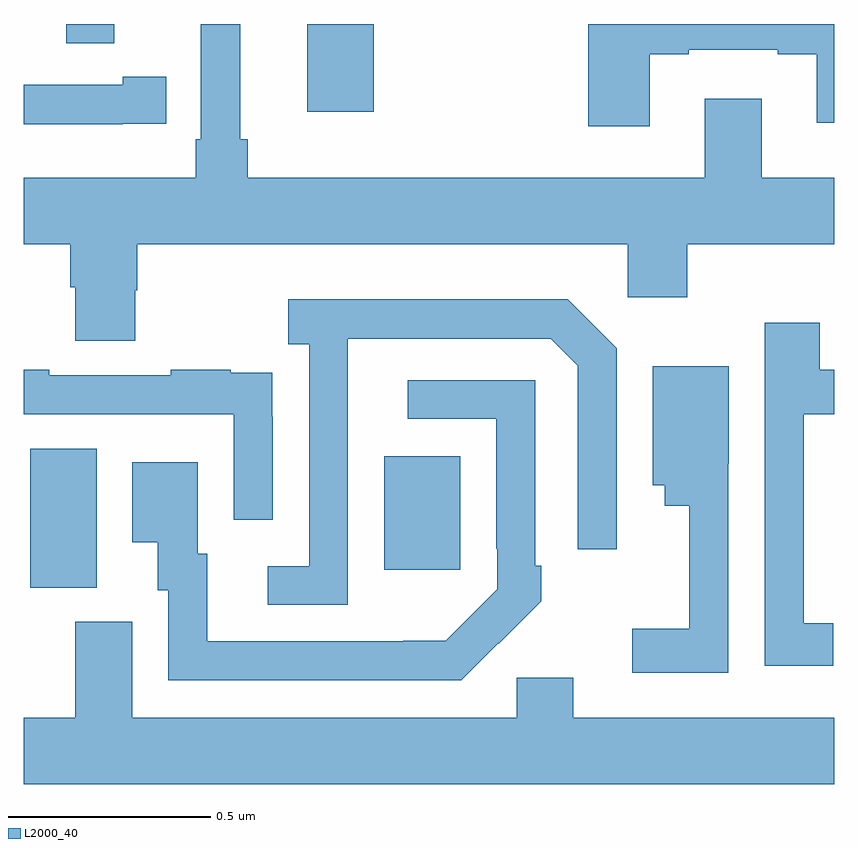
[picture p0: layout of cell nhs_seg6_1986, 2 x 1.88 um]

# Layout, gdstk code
import gdstk
lib = gdstk.Library(unit=1e-6, precision=1e-09)
def R(c, l, rs):  # rectangles x0, y0, x1, y1
    for r in rs: c.add(gdstk.rectangle(r[:2], r[2:], *l))
def P(c, l, *ps):  # polygons
    for p in ps: c.add(gdstk.Polygon(p, *l))
L2000_40 = (2000, 40)

nhs_seg6_1986 = lib.new_cell('nhs_seg6_1986')
R(nhs_seg6_1986, L2000_40, [(136.016,993.109,136.18,993.452), (136.889,993.153,137.077,993.433), (136.7,994.284,136.864,994.5), (136.105,994.452,136.223,994.5)])
P(nhs_seg6_1986, L2000_40, [(137.49,993.825),(137.637,993.825),(137.637,993.956),(138,993.956),(138,994.12),(137.821,994.12),(137.821,994.315),(137.681,994.315),(137.681,994.12),(136.553,994.12),(136.553,994.216),(136.534,994.216),(136.534,994.5),(136.437,994.5),(136.437,994.216),(136.424,994.216),(136.424,994.12),(136,994.12),(136,993.956),(136.115,993.956),(136.115,993.85),(136.127,993.85),(136.127,993.718),(136.275,993.718),(136.275,993.843),(136.28,993.843),(136.28,993.956),(137.49,993.956)],
  [(137.545,994.425),(137.641,994.425),(137.641,994.437),(137.861,994.437),(137.861,994.425),(137.957,994.425),(137.957,994.256),(138,994.256),(138,994.5),(137.393,994.5),(137.393,994.248),(137.545,994.248)],
  [(136.244,994.254),(136.352,994.254),(136.352,994.37),(136.244,994.37),(136.244,994.35),(136,994.35),(136,994.253),(136.244,994.253)],
  [(136.8,993.723),(137.301,993.723),(137.367,993.657),(137.367,993.204),(137.463,993.204),(137.463,993.699),(137.342,993.82),(136.653,993.82),(136.653,993.71),(136.704,993.71),(136.704,993.162),(136.602,993.162),(136.602,993.066),(136.8,993.066)],
  [(137.998,993.021),(137.925,993.021),(137.925,993.537),(138,993.537),(138,993.646),(137.965,993.646),(137.965,993.763),(137.829,993.763),(137.829,992.916),(137.998,992.916)],
  [(137.739,993.415),(137.74,993.415),(137.74,993.655),(137.552,993.655),(137.552,993.362),(137.582,993.362),(137.582,993.311),(137.642,993.311),(137.642,993.007),(137.502,993.007),(137.502,992.898),(137.739,992.898)],
  [(136.614,993.53),(136.613,993.53),(136.613,993.639),(136.511,993.639),(136.511,993.646),(136.363,993.646),(136.363,993.633),(136.063,993.633),(136.063,993.646),(136,993.646),(136,993.537),(136.518,993.537),(136.518,993.276),(136.614,993.276)],
  [(137.171,992.971),(137.172,992.97),(137.277,993.075),(137.277,993.163),(137.262,993.163),(137.262,993.621),(136.947,993.621),(136.947,993.525),(137.166,993.525),(137.166,993.205),(137.169,993.205),(137.169,993.105),(137.041,992.977),(136.937,992.977),(136.937,992.976),(136.453,992.976),(136.453,993.192),(136.429,993.192),(136.429,993.418),(136.268,993.418),(136.268,993.221),(136.331,993.221),(136.331,993.102),(136.356,993.102),(136.356,992.88),(137.08,992.88)],
  [(138,992.788),(137.356,992.788),(137.356,992.886),(137.217,992.886),(137.217,992.788),(136.267,992.788),(136.267,993.024),(136.127,993.024),(136.127,992.788),(136,992.788),(136,992.624),(138,992.624)])

lib.write_gds('nhs_seg6_1986.gds')
